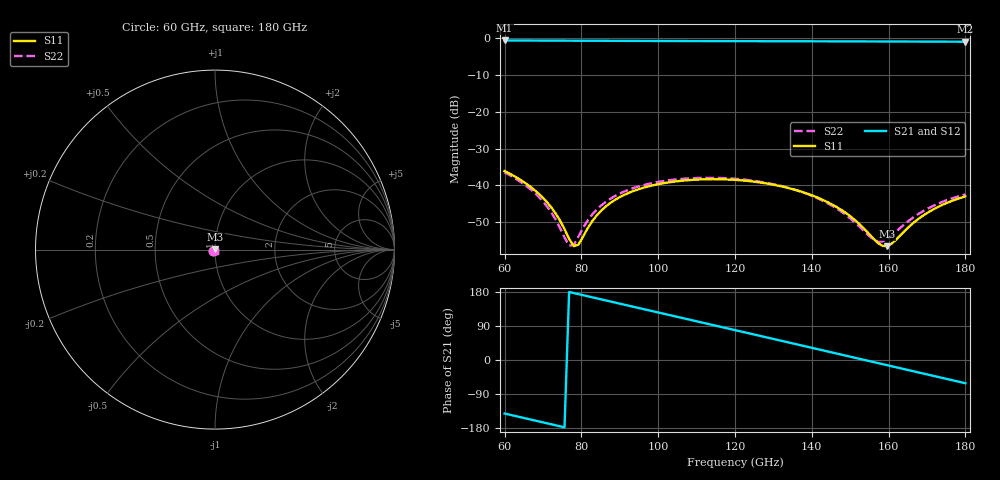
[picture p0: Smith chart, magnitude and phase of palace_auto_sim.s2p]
#  GHZ S DB R 50
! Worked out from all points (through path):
!   101 points, 60 GHz to 180 GHz, reference 50 ohm
!   highest |S21| = -0.57 dB at 60 GHz (marker M1); lowest = -0.9 dB at 180 GHz (marker M2)
!   group delay of S21, straight-line fit = 6.48 ps
!   lowest |S11| = -56.5 dB at 159.6 GHz (marker M3), VSWR 1.00, Z = 50.1 + j0.0932 ohm
!   |S11| at or under -10 dB: start of sweep to end of sweep
!   |S22| runs from -56.4 to -36.4 dB; largest |S21 - S12| = 1.6e-13
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60  -36.10 -139.6  -0.57 -141.3  -0.57 -141.3  -36.45 -139.6
64.8  -38.96 -154.3  -0.59 -152.5  -0.59 -152.5  -39.50 -154.6
69.6  -42.98 -171.3  -0.61 -163.7  -0.61 -163.7  -43.91 -172.5
73.2  -47.50 170.8  -0.62 -172.1  -0.62 -172.1  -49.11 166.6
76.8  -54.54 130.5  -0.63 179.5  -0.63 179.5  -56.39 106.3
78  -56.53 100.2  -0.64 176.7  -0.64 176.7  -56.18 69.8
79.2  -56.16 64.9  -0.64 173.9  -0.64 173.9  -53.99 42.8
80.4  -54.01 39.2  -0.65 171.1  -0.65 171.1  -51.61 26.4
84  -48.16 4.6  -0.66 162.7  -0.66 162.7  -46.57 1.2
87.6  -44.74 -12.2  -0.67 154.3  -0.67 154.3  -43.60 -13.6
93.6  -41.51 -32.3  -0.69 140.3  -0.69 140.3  -40.72 -32.8
100.8  -39.52 -53.1  -0.72 123.6  -0.72 123.6  -38.92 -53.1
110.4  -38.42 -79.5  -0.74 101.2  -0.74 101.2  -37.99 -79.3
120  -38.51 -107.0  -0.76 78.9  -0.76 78.9  -38.21 -106.6
129.6  -39.74 -136.5  -0.78 56.5  -0.78 56.5  -39.60 -136.2
140.4  -42.86 -173.5  -0.81 31.2  -0.81 31.2  -43.00 -173.7
148.8  -47.46 151.1  -0.83 11.6  -0.83 11.6  -47.98 148.3
156  -54.43 96.8  -0.84 -5.2  -0.84 -5.2  -54.65 82.7
159.6  -56.54 38.6  -0.85 -13.7  -0.85 -13.7  -54.65 25.7
160.8  -55.86 18.4  -0.86 -16.5  -0.86 -16.5  -53.67 9.8
169.2  -48.07 -54.9  -0.88 -36.1  -0.88 -36.1  -46.88 -52.2
180  -42.99 -102.4  -0.92 -61.4  -0.92 -61.4  -42.46 -99.3
